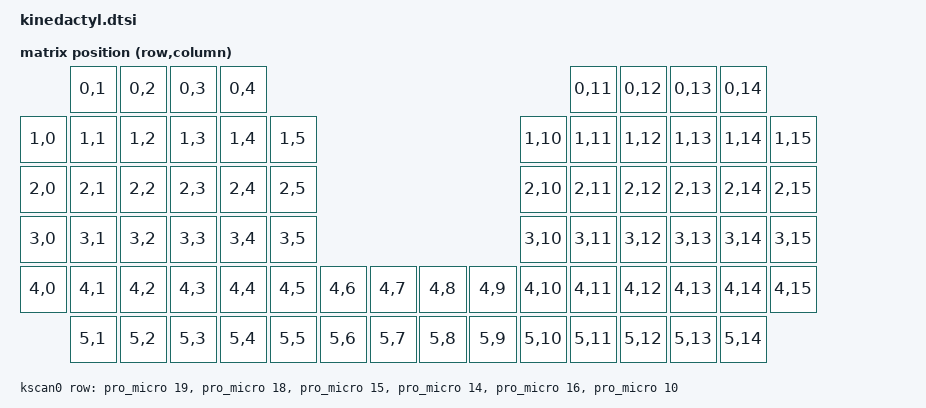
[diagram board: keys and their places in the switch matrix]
#include <dt-bindings/zmk/matrix_transform.h>

/ {
    chosen {
        zmk,kscan = &kscan0;
        zmk,matrix_transform = &default_transform;
    };

    default_transform: keymap_transform_0 {
        compatible = "zmk,matrix-transform";
        columns = <16>;
        rows = <6>;
		map = <
        RC(0,1) RC(0,2) RC(0,3) RC(0,4)                                                              RC(0,11) RC(0,12) RC(0,13) RC(0,14)
RC(1,0) RC(1,1) RC(1,2) RC(1,3) RC(1,4) RC(1,5)                                             RC(1,10) RC(1,11) RC(1,12) RC(1,13) RC(1,14) RC(1,15)
RC(2,0) RC(2,1) RC(2,2) RC(2,3) RC(2,4) RC(2,5)                                             RC(2,10) RC(2,11) RC(2,12) RC(2,13) RC(2,14) RC(2,15)
RC(3,0) RC(3,1) RC(3,2) RC(3,3) RC(3,4) RC(3,5)                                             RC(3,10) RC(3,11) RC(3,12) RC(3,13) RC(3,14) RC(3,15)
RC(4,0) RC(4,1) RC(4,2) RC(4,3) RC(4,4) RC(4,5)     RC(4,6) RC(4,7)     RC(4,8) RC(4,9)     RC(4,10) RC(4,11) RC(4,12) RC(4,13) RC(4,14) RC(4,15)
        RC(5,1) RC(5,2) RC(5,3) RC(5,4)    RC(5,5)  RC(5,6) RC(5,7)     RC(5,8) RC(5,9)  RC(5,10)    RC(5,11) RC(5,12) RC(5,13) RC(5,14) 

		>;
	};
    kscan0: kscan {
        compatible = "zmk,kscan-gpio-matrix";
        label = "KSCAN";

        diode-direction = "row2col";
        row-gpios
            = <&pro_micro 19 GPIO_ACTIVE_HIGH> // Row 0 from the schematic file
            , <&pro_micro 18 GPIO_ACTIVE_HIGH> // Row 1 from the schematic file
            , <&pro_micro 15 GPIO_ACTIVE_HIGH> // Row 2 from the schematic file
            , <&pro_micro 14 GPIO_ACTIVE_HIGH> // Row 3 from the schematic file
            , <&pro_micro 16 GPIO_ACTIVE_HIGH> // Row 4 from the schematic file
            , <&pro_micro 10 GPIO_ACTIVE_HIGH> // Row 5 from the schematic file
            ;

    };
};
